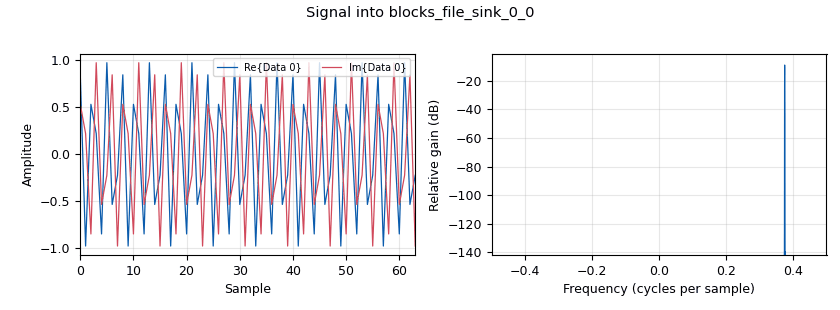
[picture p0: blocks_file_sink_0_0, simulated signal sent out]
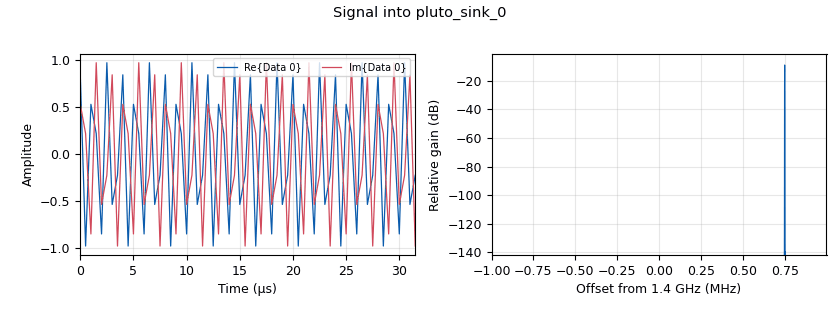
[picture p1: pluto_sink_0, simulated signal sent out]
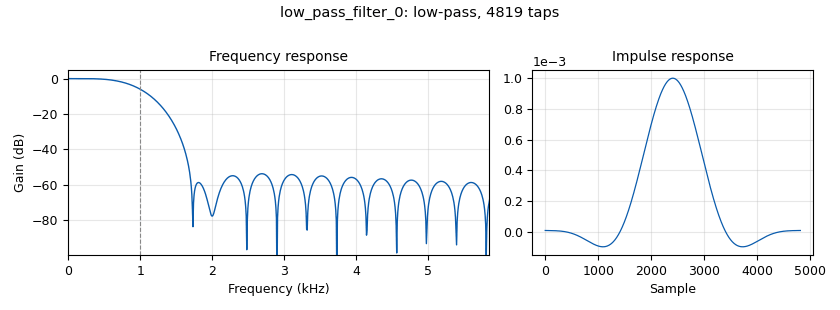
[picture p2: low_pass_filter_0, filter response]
<?xml version='1.0' encoding='utf-8'?>
<?grc format='1' created='3.7.11'?>
<flow_graph>
<block>
<key>options</key>
<param><key>id</key><value>top_block</value></param>
<param><key>generate_options</key><value>qt_gui</value></param>
</block>
<block>
<key>variable</key>
<param><key>id</key><value>decim</value></param>
<param><key>value</key><value>512*4</value></param>
</block>
<block>
<key>variable_qtgui_range</key>
<param><key>id</key><value>f1</value></param>
<param><key>value</key><value>8750001</value></param>
<param><key>orient</key><value>Qt.Horizontal</value></param>
<param><key>start</key><value>1</value></param>
<param><key>step</key><value>1000</value></param>
<param><key>stop</key><value>10000000</value></param>
</block>
<block>
<key>variable</key>
<param><key>id</key><value>fft_size</value></param>
<param><key>value</key><value>512</value></param>
</block>
<block>
<key>variable_qtgui_range</key>
<param><key>id</key><value>lo</value></param>
<param><key>value</key><value>1400000000</value></param>
<param><key>label</key><value>lo freq</value></param>
<param><key>orient</key><value>Qt.Horizontal</value></param>
<param><key>start</key><value>10000000</value></param>
<param><key>step</key><value>100000</value></param>
<param><key>stop</key><value>6000000000</value></param>
</block>
<block>
<key>variable_qtgui_range</key>
<param><key>id</key><value>q</value></param>
<param><key>value</key><value>5000000</value></param>
<param><key>label</key><value>Q</value></param>
<param><key>orient</key><value>Qt.Horizontal</value></param>
<param><key>start</key><value>19000</value></param>
<param><key>step</key><value>1</value></param>
<param><key>stop</key><value>10000000</value></param>
</block>
<block>
<key>variable</key>
<param><key>id</key><value>samp_rate</value></param>
<param><key>value</key><value>2000000</value></param>
</block>
<block>
<key>analog_agc_xx</key>
<param><key>id</key><value>analog_agc_xx_0</value></param>
<param><key>gain</key><value>1.0</value></param>
<param><key>max_gain</key><value>65536</value></param>
<param><key>rate</key><value>1e-4</value></param>
<param><key>reference</key><value>1.0</value></param>
<param><key>type</key><value>complex</value></param>
</block>
<block>
<key>analog_agc_xx</key>
<param><key>id</key><value>analog_agc_xx_0_0</value></param>
<param><key>gain</key><value>1.0</value></param>
<param><key>max_gain</key><value>65536</value></param>
<param><key>rate</key><value>1e-4</value></param>
<param><key>reference</key><value>1.0</value></param>
<param><key>type</key><value>complex</value></param>
</block>
<block>
<key>analog_sig_source_x</key>
<param><key>id</key><value>analog_sig_source_x_0</value></param>
<param><key>amp</key><value>1</value></param>
<param><key>freq</key><value>f1</value></param>
<param><key>offset</key><value>0</value></param>
<param><key>type</key><value>complex</value></param>
<param><key>samp_rate</key><value>samp_rate</value></param>
<param><key>waveform</key><value>analog.GR_COS_WAVE</value></param>
</block>
<block>
<key>blocks_complex_to_mag</key>
<param><key>id</key><value>blocks_complex_to_mag_0_0</value></param>
<param><key>vlen</key><value>fft_size</value></param>
</block>
<block>
<key>blocks_complex_to_real</key>
<param><key>id</key><value>blocks_complex_to_real_0</value></param>
<param><key>_enabled</key><value>0</value></param>
</block>
<block>
<key>blocks_file_sink</key>
<param><key>id</key><value>blocks_file_sink_0</value></param>
<param><key>file</key><value>/home/raidfire/gpr/data/test_saw.bin</value></param>
<param><key>type</key><value>complex</value></param>
</block>
<block>
<key>blocks_file_sink</key>
<param><key>id</key><value>blocks_file_sink_0_0</value></param>
<param><key>file</key><value>/home/raidfire/gpr/data/test_multi.bin</value></param>
<param><key>type</key><value>complex</value></param>
<param><key>unbuffered</key><value>True</value></param>
</block>
<block>
<key>blocks_multiply_conjugate_cc</key>
<param><key>id</key><value>blocks_multiply_conjugate_cc_0</value></param>
</block>
<block>
<key>blocks_stream_to_vector</key>
<param><key>id</key><value>blocks_stream_to_vector_0_1</value></param>
<param><key>type</key><value>complex</value></param>
<param><key>num_items</key><value>fft_size</value></param>
</block>
<block>
<key>blocks_udp_sink</key>
<param><key>id</key><value>blocks_udp_sink_0_0</value></param>
<param><key>ipaddr</key><value>192.169.0.104</value></param>
<param><key>port</key><value>3333</value></param>
<param><key>_enabled</key><value>0</value></param>
<param><key>type</key><value>complex</value></param>
<param><key>psize</key><value>1472</value></param>
<param><key>eof</key><value>True</value></param>
<param><key>vlen</key><value>1</value></param>
</block>
<block>
<key>blocks_vector_to_stream</key>
<param><key>id</key><value>blocks_vector_to_stream_0_0</value></param>
<param><key>type</key><value>float</value></param>
<param><key>num_items</key><value>fft_size</value></param>
</block>
<block>
<key>fft_vxx</key>
<param><key>id</key><value>fft_vxx_0_0_0_1</value></param>
<param><key>fft_size</key><value>fft_size</value></param>
<param><key>forward</key><value>False</value></param>
<param><key>type</key><value>complex</value></param>
<param><key>nthreads</key><value>8</value></param>
<param><key>shift</key><value>False</value></param>
<param><key>window</key><value>window.blackmanharris(fft_size)</value></param>
</block>
<block>
<key>low_pass_filter</key>
<param><key>id</key><value>low_pass_filter_0</value></param>
<param><key>cutoff_freq</key><value>1e3</value></param>
<param><key>decim</key><value>decim</value></param>
<param><key>type</key><value>fir_filter_ccf</value></param>
<param><key>gain</key><value>1</value></param>
<param><key>samp_rate</key><value>samp_rate</value></param>
<param><key>width</key><value>1e3</value></param>
<param><key>win</key><value>firdes.WIN_HAMMING</value></param>
</block>
<block>
<key>pluto_sink</key>
<param><key>id</key><value>pluto_sink_0</value></param>
<param><key>attenuation</key><value>0</value></param>
<param><key>buffer_size</key><value>0x8000</value></param>
<param><key>cyclic</key><value>False</value></param>
<param><key>auto_filter</key><value>True</value></param>
<param><key>filter</key><value></value></param>
<param><key>uri</key><value>ip:pluto.local</value></param>
<param><key>interpolation</key><value>1</value></param>
<param><key>frequency</key><value>lo</value></param>
<param><key>bandwidth</key><value>q</value></param>
<param><key>samplerate</key><value>samp_rate</value></param>
</block>
<block>
<key>pluto_source</key>
<param><key>id</key><value>pluto_source_0</value></param>
<param><key>bbdc</key><value>True</value></param>
<param><key>buffer_size</key><value>0x8000</value></param>
<param><key>decimation</key><value>1</value></param>
<param><key>uri</key><value>ip:pluto.local</value></param>
<param><key>auto_filter</key><value>True</value></param>
<param><key>filter</key><value></value></param>
<param><key>gain</key><value>"manual"</value></param>
<param><key>frequency</key><value>lo</value></param>
<param><key>manual_gain</key><value>720</value></param>
<param><key>quadrature</key><value>False</value></param>
<param><key>rfdc</key><value>False</value></param>
<param><key>bandwidth</key><value>q</value></param>
<param><key>samplerate</key><value>samp_rate</value></param>
</block>
<block>
<key>qtgui_number_sink</key>
<param><key>id</key><value>qtgui_number_sink_0</value></param>
<param><key>autoscale</key><value>True</value></param>
<param><key>graph_type</key><value>qtgui.NUM_GRAPH_VERT</value></param>
<param><key>type</key><value>float</value></param>
<param><key>max</key><value>5000</value></param>
<param><key>min</key><value>0</value></param>
<param><key>update_time</key><value>0.01</value></param>
</block>
<block>
<key>qtgui_time_raster_sink_x</key>
<param><key>id</key><value>qtgui_time_raster_sink_x_0_0</value></param>
<param><key>zmax</key><value>5</value></param>
<param><key>zmin</key><value>0</value></param>
<param><key>mult</key><value>[2]</value></param>
<param><key>name</key><value>"Mag"</value></param>
<param><key>ncols</key><value>fft_size</value></param>
<param><key>nrows</key><value>500</value></param>
<param><key>samp_rate</key><value>samp_rate</value></param>
<param><key>type</key><value>float</value></param>
<param><key>update_time</key><value>0.0001</value></param>
</block>
<block>
<key>qtgui_waterfall_sink_x</key>
<param><key>id</key><value>qtgui_waterfall_sink_x_0</value></param>
<param><key>bw</key><value>samp_rate/decim</value></param>
<param><key>fc</key><value>0</value></param>
<param><key>fftsize</key><value>fft_size/4</value></param>
<param><key>showports</key><value>True</value></param>
<param><key>type</key><value>complex</value></param>
<param><key>update_time</key><value>0.1</value></param>
<param><key>wintype</key><value>firdes.WIN_HAMMING</value></param>
</block>
<connection><source_block_id>analog_agc_xx_0</source_block_id><sink_block_id>blocks_multiply_conjugate_cc_0</sink_block_id><source_key>0</source_key><sink_key>0</sink_key></connection>
<connection><source_block_id>analog_agc_xx_0_0</source_block_id><sink_block_id>blocks_multiply_conjugate_cc_0</sink_block_id><source_key>0</source_key><sink_key>1</sink_key></connection>
<connection><source_block_id>analog_sig_source_x_0</source_block_id><sink_block_id>analog_agc_xx_0</sink_block_id><source_key>0</source_key><sink_key>0</sink_key></connection>
<connection><source_block_id>analog_sig_source_x_0</source_block_id><sink_block_id>blocks_complex_to_real_0</sink_block_id><source_key>0</source_key><sink_key>0</sink_key></connection>
<connection><source_block_id>analog_sig_source_x_0</source_block_id><sink_block_id>blocks_file_sink_0_0</sink_block_id><source_key>0</source_key><sink_key>0</sink_key></connection>
<connection><source_block_id>analog_sig_source_x_0</source_block_id><sink_block_id>pluto_sink_0</sink_block_id><source_key>0</source_key><sink_key>0</sink_key></connection>
<connection><source_block_id>blocks_complex_to_mag_0_0</source_block_id><sink_block_id>blocks_vector_to_stream_0_0</sink_block_id><source_key>0</source_key><sink_key>0</sink_key></connection>
<connection><source_block_id>blocks_multiply_conjugate_cc_0</source_block_id><sink_block_id>blocks_stream_to_vector_0_1</sink_block_id><source_key>0</source_key><sink_key>0</sink_key></connection>
<connection><source_block_id>blocks_multiply_conjugate_cc_0</source_block_id><sink_block_id>low_pass_filter_0</sink_block_id><source_key>0</source_key><sink_key>0</sink_key></connection>
<connection><source_block_id>blocks_stream_to_vector_0_1</source_block_id><sink_block_id>fft_vxx_0_0_0_1</sink_block_id><source_key>0</source_key><sink_key>0</sink_key></connection>
<connection><source_block_id>blocks_vector_to_stream_0_0</source_block_id><sink_block_id>qtgui_number_sink_0</sink_block_id><source_key>0</source_key><sink_key>0</sink_key></connection>
<connection><source_block_id>blocks_vector_to_stream_0_0</source_block_id><sink_block_id>qtgui_time_raster_sink_x_0_0</sink_block_id><source_key>0</source_key><sink_key>0</sink_key></connection>
<connection><source_block_id>fft_vxx_0_0_0_1</source_block_id><sink_block_id>blocks_complex_to_mag_0_0</sink_block_id><source_key>0</source_key><sink_key>0</sink_key></connection>
<connection><source_block_id>low_pass_filter_0</source_block_id><sink_block_id>blocks_file_sink_0</sink_block_id><source_key>0</source_key><sink_key>0</sink_key></connection>
<connection><source_block_id>low_pass_filter_0</source_block_id><sink_block_id>blocks_udp_sink_0_0</sink_block_id><source_key>0</source_key><sink_key>0</sink_key></connection>
<connection><source_block_id>low_pass_filter_0</source_block_id><sink_block_id>qtgui_waterfall_sink_x_0</sink_block_id><source_key>0</source_key><sink_key>0</sink_key></connection>
<connection><source_block_id>pluto_source_0</source_block_id><sink_block_id>analog_agc_xx_0_0</sink_block_id><source_key>0</source_key><sink_key>0</sink_key></connection>
</flow_graph>
